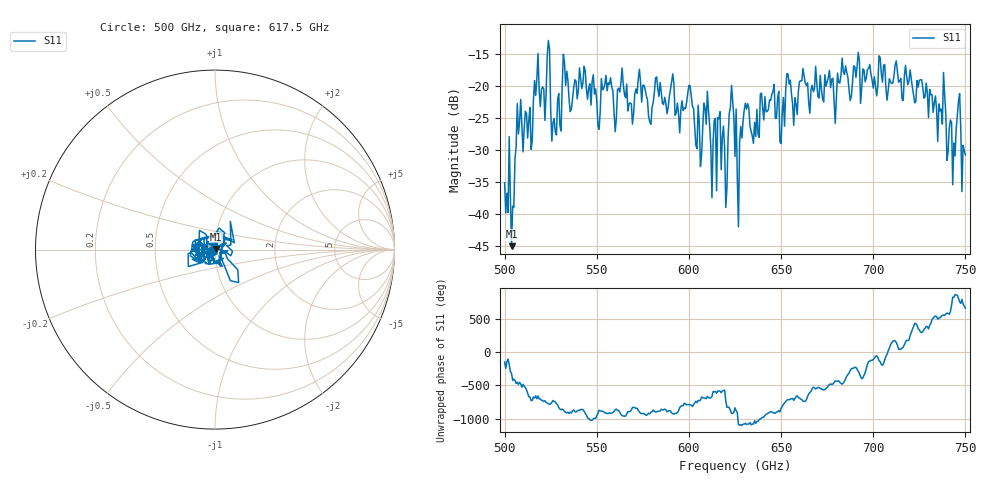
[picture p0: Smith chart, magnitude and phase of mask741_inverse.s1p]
!Created with skrf (http://scikit-rf.org).
# GHz S MA R 50.0
!freq magS11 angS11
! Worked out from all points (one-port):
!   401 points, 500 GHz to 750 GHz, reference 50 ohm
!   lowest |S11| = -45.1 dB at 503.8 GHz (marker M1), VSWR 1.01, Z = 50.4 + j0.359 ohm
!   |S11| at or under -10 dB: start of sweep to end of sweep
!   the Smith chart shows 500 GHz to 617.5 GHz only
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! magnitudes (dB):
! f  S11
! 500 GHz  -35.2
! 503.8 GHz  -45.1
! 507.5 GHz  -27.5
! 513.8 GHz  -23.4
! 516.9 GHz  -21.5
! 523.8 GHz  -12.9
! 526.9 GHz  -25.1
! 531.2 GHz  -20.0
! 562.5 GHz  -21.0
! 579.4 GHz  -26.0
! 590.6 GHz  -19.3
! 593.8 GHz  -22.7
! 600.6 GHz  -20.0
! 605.6 GHz  -25.9
! 609.4 GHz  -26.0
! 619.4 GHz  -29.7
! 623.1 GHz  -20.0
! 625 GHz  -31.1
! 627.5 GHz  -28.8
! 631.2 GHz  -23.7
! 635 GHz  -29.0
! 656.2 GHz  -22.9
! 687.5 GHz  -22.3
! 718.8 GHz  -19.8
! 738.1 GHz  -17.9
! 743.8 GHz  -29.0
! 746.2 GHz  -22.5
! 750 GHz  -30.8
